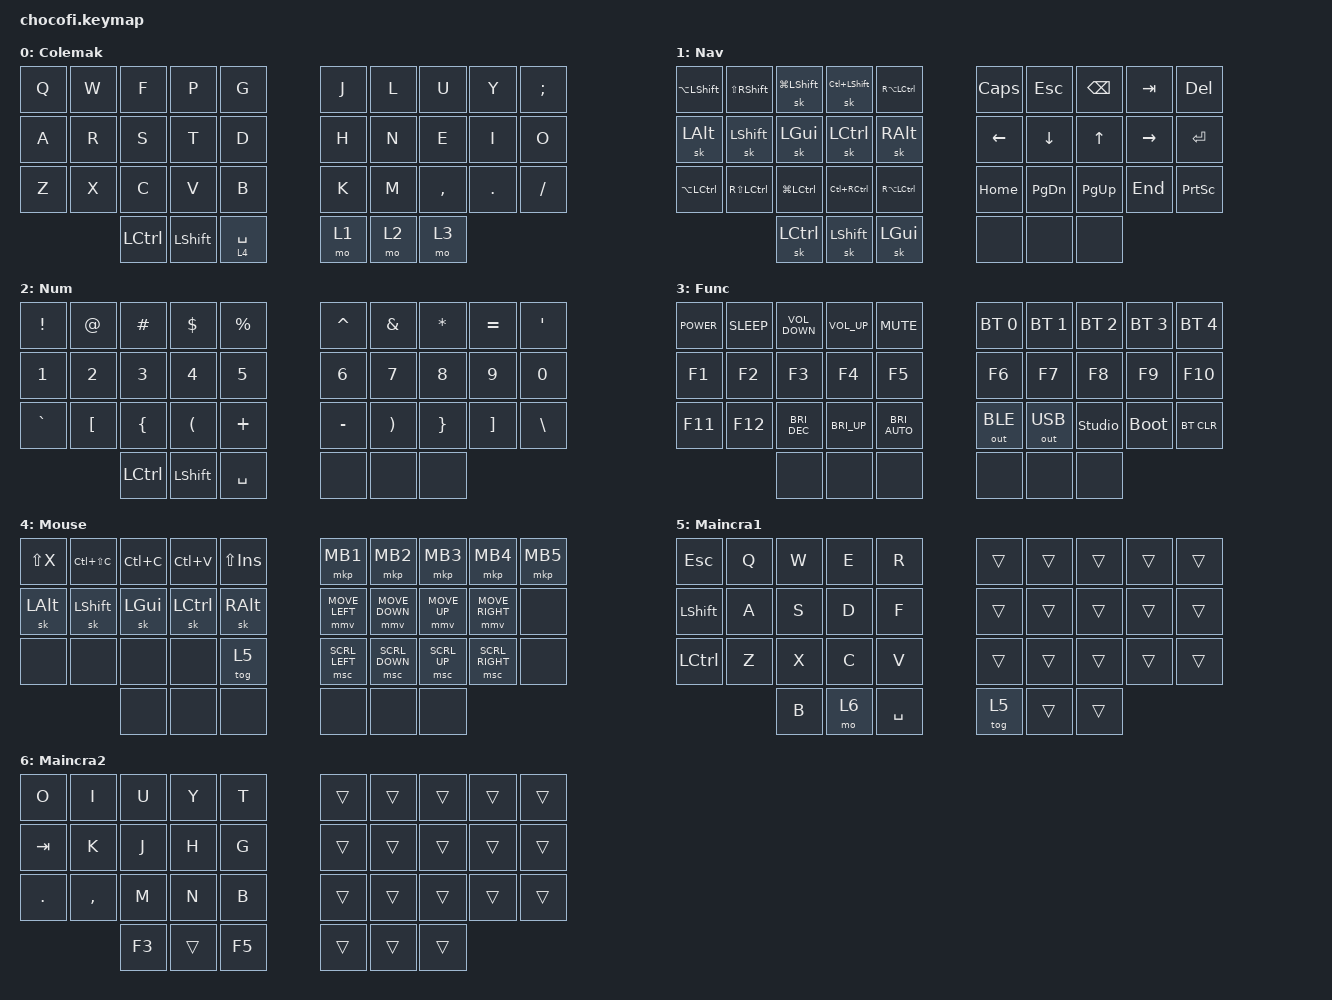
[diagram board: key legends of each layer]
/*
* Keymap configuration file
*/

#include <behaviors.dtsi>
#include <dt-bindings/zmk/bt.h>
#include <dt-bindings/zmk/keys.h>
#include <dt-bindings/zmk/outputs.h>
#include <dt-bindings/zmk/pointing.h>

&lt {
};

/ {
    combos { compatible = "zmk,combos"; };

    keymap {
        compatible = "zmk,keymap";

        colemak {
            // -----------------------------------------------------------------------------------------
            // |  TAB |  Q  |  W  |  E  |  R  |  T  |   |  Y  |  U   |  I  |  O  |  P  | BSPC |
            // | CTRL |  A  |  S  |  D  |  F  |  G  |   |  H  |  J   |  K  |  L  |  ;  |  '   |
            // | SHFT |  Z  |  X  |  C  |  V  |  B  |   |  N  |  M   |  ,  |  .  |  /  | ESC  |
            //                    | GUI | LWR | SPC |   | ENT | RSE  | ALT |

            bindings = <
  &kp Q  &kp W  &kp F             &kp P       &kp G          &kp J  &kp L  &kp U      &kp Y    &kp SEMI
  &kp A  &kp R  &kp S             &kp T       &kp D          &kp H  &kp N  &kp E      &kp I    &kp O
  &kp Z  &kp X  &kp C             &kp V       &kp B          &kp K  &kp M  &kp COMMA  &kp DOT  &kp FSLH
                &kp LEFT_CONTROL  &kp LSHIFT  &lt 4 SPACE    &mo 1  &mo 2  &mo 3
            >;

            label = "Colemak";
        };

        Nav {
            bindings = <
  &kp LA(LEFT_SHIFT)  &kp LS(RSHIFT)  &sk LG(LSHIFT)  &sk LC(LEFT_SHIFT)  &kp RA(LCTRL)    &kp CAPS  &kp ESC    &kp BACKSPACE  &kp TAB    &kp DELETE
  &sk LEFT_ALT        &sk LSHIFT      &sk LGUI        &sk LCTRL           &sk RIGHT_ALT    &kp LEFT  &kp DOWN   &kp UP         &kp RIGHT  &kp ENTER
  &kp LA(LCTRL)       &kp RS(LCTRL)   &kp LG(LCTRL)   &kp LC(RCTRL)       &kp RA(LCTRL)    &kp HOME  &kp PG_DN  &kp PG_UP      &kp END    &kp PRINTSCREEN
                                      &sk LCTRL       &sk LEFT_SHIFT      &sk LGUI         &none     &none      &none
            >;

            label = "Nav";
        };

        Num {
            // -----------------------------------------------------------------------------------------
            // |  TAB |  !  |  @  |  #  |  $  |  %  |   |  ^  |  &  |  *  |  (  |  )  | BSPC |
            // | CTRL |     |     |     |     |     |   |  -  |  =  |  [  |  ]  |  \  |  `   |
            // | SHFT |     |     |     |     |     |   |  _  |  +  |  {  |  }  | "|" |  ~   |
            //                    | GUI |     | SPC |   | ENT |     | ALT |

            bindings = <
  &kp EXCL   &kp AT            &kp HASH          &kp DOLLAR            &kp PERCENT    &kp CARET  &kp AMPERSAND          &kp ASTERISK     &kp EQUAL          &kp APOS
  &kp N1     &kp N2            &kp N3            &kp N4                &kp N5         &kp N6     &kp N7                 &kp N8           &kp N9             &kp N0
  &kp GRAVE  &kp LEFT_BRACKET  &kp LEFT_BRACE    &kp LEFT_PARENTHESIS  &kp PLUS       &kp MINUS  &kp RIGHT_PARENTHESIS  &kp RIGHT_BRACE  &kp RIGHT_BRACKET  &kp BACKSLASH
                               &kp LEFT_CONTROL  &kp LSHIFT            &kp SPACE      &none      &none                  &none
            >;

            label = "Num";
        };

        Func {
            bindings = <
  &kp C_POWER  &kp C_SLEEP  &kp C_VOLUME_DOWN  &kp C_VOLUME_UP  &kp C_MUTE               &bt BT_SEL 0  &bt BT_SEL 1  &bt BT_SEL 2    &bt BT_SEL 3  &bt BT_SEL 4
  &kp F1       &kp F2       &kp F3             &kp F4           &kp F5                   &kp F6        &kp F7        &kp F8          &kp F9        &kp F10
  &kp F11      &kp F12      &kp C_BRI_DEC      &kp C_BRI_UP     &kp C_BRIGHTNESS_AUTO    &out OUT_BLE  &out OUT_USB  &studio_unlock  &bootloader   &bt BT_CLR
                            &none              &none            &none                    &none         &none         &none
            >;

            label = "Func";
        };

        Mouse {
            label = "Mouse";
            bindings = <
  &kp LS(X)  &kp LC(LS(C))   &kp LC(C)  &kp LC(V)  &kp LS(INSERT)    &mkp MB1        &mkp MB2        &mkp MB3      &mkp MB4         &mkp MB5
  &sk LALT   &sk LEFT_SHIFT  &sk LGUI   &sk LCTRL  &sk RALT          &mmv MOVE_LEFT  &mmv MOVE_DOWN  &mmv MOVE_UP  &mmv MOVE_RIGHT  &none
  &none      &none           &none      &none      &tog 5            &msc SCRL_LEFT  &msc SCRL_DOWN  &msc SCRL_UP  &msc SCRL_RIGHT  &none
                             &none      &none      &none             &none           &none           &none
            >;
        };

        Maincra1 {
            bindings = <
  &kp ESC    &kp Q  &kp W  &kp E  &kp R        &trans  &trans  &trans  &trans  &trans
  &kp LSHFT  &kp A  &kp S  &kp D  &kp F        &trans  &trans  &trans  &trans  &trans
  &kp LCTRL  &kp Z  &kp X  &kp C  &kp V        &trans  &trans  &trans  &trans  &trans
                    &kp B  &mo 6  &kp SPACE    &tog 5  &trans  &trans
            >;
        };

        Maincra2 {
            bindings = <
  &kp O    &kp I      &kp U   &kp Y   &kp T     &trans  &trans  &trans  &trans  &trans
  &kp TAB  &kp K      &kp J   &kp H   &kp G     &trans  &trans  &trans  &trans  &trans
  &kp DOT  &kp COMMA  &kp M   &kp N   &kp B     &trans  &trans  &trans  &trans  &trans
                      &kp F3  &trans  &kp F5    &trans  &trans  &trans
            >;
        };
    };
};
